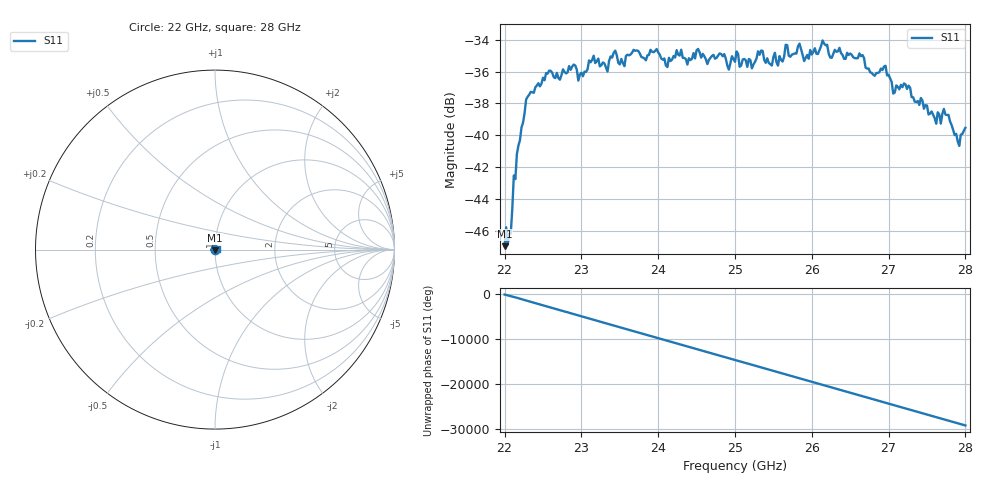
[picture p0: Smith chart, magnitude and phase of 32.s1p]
#  HZ  S  RI  R  50.00
! Rohde & Schwarz ZVA40 4Ports - Version 3.90 - 1145.1110k42 SN: 100403
! Date: 2023-10-04 10:34:31
! Measurement: S12
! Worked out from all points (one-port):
!   301 points, 22 GHz to 28 GHz, reference 50 ohm
!   lowest |S11| = -47.0 dB at 22 GHz (marker M1), VSWR 1.01, Z = 50 - j0.446 ohm
!   |S11| at or under -10 dB: start of sweep to end of sweep
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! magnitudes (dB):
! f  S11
! 22 GHz  -47.0
! 22.02 GHz  -45.8
! 22.04 GHz  -46.9
! 22.08 GHz  -46.2
! 22.12 GHz  -42.5
! 22.14 GHz  -42.8
! 22.16 GHz  -41.2
! 22.28 GHz  -37.8
! 22.76 GHz  -35.9
! 22.96 GHz  -36.6
! 23.16 GHz  -35.0
! 23.34 GHz  -36.0
! 23.44 GHz  -34.7
! 23.5 GHz  -35.6
! 24.26 GHz  -34.9
! 25 GHz  -35.4
! 25.76 GHz  -34.9
! 26.14 GHz  -34.1
! 26.24 GHz  -35.1
! 26.5 GHz  -34.9
! 26.82 GHz  -36.3
! 26.96 GHz  -35.6
! 27.06 GHz  -37.4
! 27.26 GHz  -36.9
! 27.62 GHz  -39.3
! 27.72 GHz  -38.4
! 27.92 GHz  -40.7
! 28 GHz  -39.5
